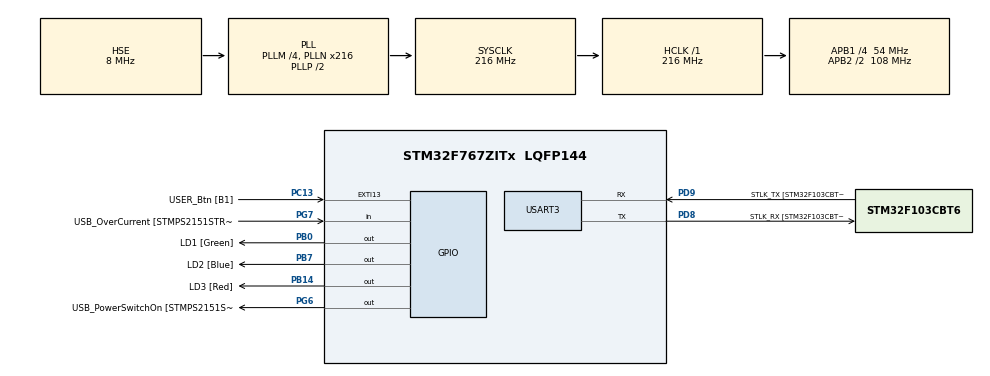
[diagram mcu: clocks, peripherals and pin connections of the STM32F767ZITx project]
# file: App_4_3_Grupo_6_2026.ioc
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CORTEX_M7.default_mode_Activation=1
Mcu.Family=STM32F7
Mcu.Name=STM32F767ZITx
Mcu.Package=LQFP144
NVIC.PriorityGroup=NVIC_PRIORITYGROUP_4
PA1.GPIO_Label=RMII_REF_CLK [LAN8742A-CZ-TR_REFCLK0]
PA1.Signal=ETH_REF_CLK
PA10.GPIO_Label=USB_ID
PA10.Signal=USB_OTG_FS_ID
PA11.GPIO_Label=USB_DM
PA11.Signal=USB_OTG_FS_DM
PA12.GPIO_Label=USB_DP
PA12.Signal=USB_OTG_FS_DP
PA13.GPIO_Label=TMS
PA13.Mode=Serial_Wire
PA13.Signal=SYS_JTMS-SWDIO
PA14.GPIO_Label=TCK
PA14.Mode=Serial_Wire
PA14.Signal=SYS_JTCK-SWCLK
PA2.GPIO_Label=RMII_MDIO [LAN8742A-CZ-TR_MDIO]
PA2.Signal=ETH_MDIO
PA7.GPIO_Label=RMII_CRS_DV [LAN8742A-CZ-TR_CRS_DV]
PA7.Signal=ETH_CRS_DV
PA8.GPIO_Label=USB_SOF [TP1]
PA8.Signal=USB_OTG_FS_SOF
PA9.GPIO_Label=USB_VBUS
PA9.Signal=USB_OTG_FS_VBUS
PB0.GPIO_Label=LD1 [Green]
PB0.Signal=GPIO_Output
PB13.GPIO_Label=RMII_TXD1 [LAN8742A-CZ-TR_TXD1]
PB13.Signal=ETH_TXD1
PB14.GPIO_Label=LD3 [Red]
PB14.Signal=GPIO_Output
PB3.GPIO_Label=SWO
PB3.Signal=SYS_JTDO-SWO
PB7.GPIO_Label=LD2 [Blue]
PB7.Signal=GPIO_Output
PC1.GPIO_Label=RMII_MDC [LAN8742A-CZ-TR_MDC]
PC1.Signal=ETH_MDC
PC13.GPIO_Label=USER_Btn [B1]
PC13.Signal=GPXTI13
PC14/OSC32_IN.Mode=LSE-External-Oscillator
PC14/OSC32_IN.Signal=RCC_OSC32_IN
PC15/OSC32_OUT.Mode=LSE-External-Oscillator
PC15/OSC32_OUT.Signal=RCC_OSC32_OUT
PC4.GPIO_Label=RMII_RXD0 [LAN8742A-CZ-TR_RXD0]
PC4.Signal=ETH_RXD0
PC5.GPIO_Label=RMII_RXD1 [LAN8742A-CZ-TR_RXD1]
PC5.Signal=ETH_RXD1
PD8.GPIO_Label=STLK_RX [STM32F103CBT6_PA3]
PD8.Mode=Asynchronous
PD8.Signal=USART3_TX
PD9.GPIO_Label=STLK_TX [STM32F103CBT6_PA2]
PD9.Mode=Asynchronous
PD9.Signal=USART3_RX
PG11.GPIO_Label=RMII_TX_EN [LAN8742A-CZ-TR_TXEN]
PG11.Signal=ETH_TX_EN
PG13.GPIO_Label=RMII_TXD0 [LAN8742A-CZ-TR_TXD0]
PG13.Signal=ETH_TXD0
PG6.GPIO_Label=USB_PowerSwitchOn [STMPS2151STR_EN]
PG6.Signal=GPIO_Output
PG7.GPIO_Label=USB_OverCurrent [STMPS2151STR_FAULT]
PG7.Signal=GPIO_Input
PH0/OSC_IN.GPIO_Label=MCO [STM32F103CBT6_PA8]
PH0/OSC_IN.Mode=HSE-External-Clock-Source
PH0/OSC_IN.Signal=RCC_OSC_IN
PH1/OSC_OUT.Mode=HSE-External-Clock-Source
PH1/OSC_OUT.Signal=RCC_OSC_OUT
ProjectManager.HeapSize=0x200
ProjectManager.StackSize=0x400
ProjectManager.TargetToolchain=STM32CubeIDE
RCC.48MHZClocksFreq_Value=24000000
RCC.AHBFreq_Value=216000000
RCC.APB1CLKDivider=RCC_HCLK_DIV4
RCC.APB1Freq_Value=54000000
RCC.APB1TimFreq_Value=108000000
RCC.APB2CLKDivider=RCC_HCLK_DIV2
RCC.APB2Freq_Value=108000000
RCC.APB2TimFreq_Value=216000000
RCC.CortexFreq_Value=216000000
RCC.HCLKFreq_Value=216000000
RCC.HSE_VALUE=8000000
RCC.HSI_VALUE=16000000
RCC.PLLM=4
RCC.PLLMUL=RCC_PLL_MUL9
RCC.PLLN=216
RCC.PLLQ=4
RCC.PLLSourceVirtual=RCC_PLLSOURCE_HSE
RCC.PRESCALERUSB=RCC_USBCLKSOURCE_PLL_DIV1_5
RCC.SYSCLKFreq_VALUE=216000000
RCC.SYSCLKSource=RCC_SYSCLKSOURCE_PLLCLK
RCC.SYSCLKSourceVirtual=RCC_SYSCLKSOURCE_PLLCLK
RCC.USBFreq_Value=108000000
RCC.VCOOutputFreq_Value=432000000
USART3.VirtualMode-Asynchronous=VM_ASYNC
board=NUCLEO-F767ZI

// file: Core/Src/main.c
/* USER CODE BEGIN Header */
/**
  ******************************************************************************
  * @file           : main.c
  * @brief          : Main program body
  ******************************************************************************
  * @attention
  *
  * Copyright (c) 2026 STMicroelectronics.
  * All rights reserved.
  *
  * This software is licensed under terms that can be found in the LICENSE file
  * in the root directory of this software component.
  * If no LICENSE file comes with this software, it is provided AS-IS.
  *
  ******************************************************************************
  */
/* USER CODE END Header */
#include "main.h"

/* USER CODE BEGIN Includes */
#include "API_GPIO.h"
#include "API_delay.h"
/* USER CODE END Includes */

UART_HandleTypeDef huart3;

void SystemClock_Config(void);
static void MPU_Config(void);
static void MX_GPIO_Init(void);
static void MX_USART3_UART_Init(void);

/* USER CODE BEGIN 0 */
// Vector de LEDs usando los nombres reales de main.h
led_t vector_leds[3] = {LD1_Pin, LD2_Pin, LD3_Pin};

// Variables para el antirebote y lectura del botón
buttonStatus_t estadoBotonAnterior = 0;
uint8_t secuencia_actual = 0;
/* USER CODE END 0 */

int main(void)
{

  /* MPU Configuration--------------------------------------------------------*/
  MPU_Config();

  /* MCU Configuration--------------------------------------------------------*/

  /* Reset of all peripherals, Initializes the Flash interface and the Systick. */
  HAL_Init();

  /* Configure the system clock */
  SystemClock_Config();

  /* Initialize all configured peripherals */
  MX_GPIO_Init();
  MX_USART3_UART_Init();
  /* USER CODE BEGIN 2 */
  // Declaramos los cronómetros (delays no bloqueantes)
  delay_t delay_seq1, delay_seq2, delay_seq3_L1, delay_seq3_L2, delay_seq3_L3, delay_seq4;

  delayInit(&delay_seq1, 150);
  delayInit(&delay_seq2, 300);
  delayInit(&delay_seq3_L1, 100);
  delayInit(&delay_seq3_L2, 300);
  delayInit(&delay_seq3_L3, 600);
  delayInit(&delay_seq4, 150);

  uint8_t indice_led = 0; // Para recorrer el vector en la Secuencia 1
  /* USER CODE END 2 */

  /* Infinite loop */
  /* USER CODE BEGIN WHILE */
  while (1)
    {
      // Leemos el pulsador
      buttonStatus_t estadoBotonActual = ReadButton_GPIO();

      if (estadoBotonActual && !estadoBotonAnterior) {
          secuencia_actual++;
          if (secuencia_actual > 3) {
              secuencia_actual = 0;
          }

          WriteLedOff_GPIO(LD1_Pin);
          WriteLedOff_GPIO(LD2_Pin);
          WriteLedOff_GPIO(LD3_Pin);
      }
      estadoBotonAnterior = estadoBotonActual;

      // --- MÁQUINA DE ESTADOS ---
      switch (secuencia_actual) {

          case 0: // SECUENCIA 1
              if (delayRead(&delay_seq1)) {
                  WriteLedOff_GPIO(vector_leds[indice_led]);

                  indice_led++;
                  if (indice_led > 2) indice_led = 0;

                  WriteLedOn_GPIO(vector_leds[indice_led]);
              }
              break;

          case 1: // SECUENCIA 2
              if (delayRead(&delay_seq2)) {
                  ToggleLed_GPIO(LD1_Pin);
                  ToggleLed_GPIO(LD2_Pin);
                  ToggleLed_GPIO(LD3_Pin);
              }
              break;

          case 2: // SECUENCIA 3
              if (delayRead(&delay_seq3_L1)) ToggleLed_GPIO(LD1_Pin);
              if (delayRead(&delay_seq3_L2)) ToggleLed_GPIO(LD2_Pin);
              if (delayRead(&delay_seq3_L3)) ToggleLed_GPIO(LD3_Pin);
              break;

          case 3: // SECUENCIA 4
              if (delayRead(&delay_seq4)) {
                  ToggleLed_GPIO(LD1_Pin);
                  ToggleLed_GPIO(LD3_Pin);

                  if (HAL_GPIO_ReadPin(GPIOB, LD1_Pin) == GPIO_PIN_SET) {
                      WriteLedOff_GPIO(LD2_Pin);
                  } else {
                      WriteLedOn_GPIO(LD2_Pin);
                  }
              }
              break;
      }
    /* USER CODE END WHILE */

  }
}

void SystemClock_Config(void)
{
  RCC_OscInitTypeDef RCC_OscInitStruct = {0};
  RCC_ClkInitTypeDef RCC_ClkInitStruct = {0};

  /** Configure LSE Drive Capability
  */
  HAL_PWR_EnableBkUpAccess();

  /** Configure the main internal regulator output voltage
  */
  __HAL_RCC_PWR_CLK_ENABLE();
  __HAL_PWR_VOLTAGESCALING_CONFIG(PWR_REGULATOR_VOLTAGE_SCALE1);

  /** Initializes the RCC Oscillators according to the specified parameters
  * in the RCC_OscInitTypeDef structure.
  */
  RCC_OscInitStruct.OscillatorType = RCC_OSCILLATORTYPE_HSE;
  RCC_OscInitStruct.HSEState = RCC_HSE_BYPASS;
  RCC_OscInitStruct.PLL.PLLState = RCC_PLL_ON;
  RCC_OscInitStruct.PLL.PLLSource = RCC_PLLSOURCE_HSE;
  RCC_OscInitStruct.PLL.PLLM = 4;
  RCC_OscInitStruct.PLL.PLLN = 216;
  RCC_OscInitStruct.PLL.PLLP = RCC_PLLP_DIV2;
  RCC_OscInitStruct.PLL.PLLQ = 4;
  RCC_OscInitStruct.PLL.PLLR = 2;
  if (HAL_RCC_OscConfig(&RCC_OscInitStruct) != HAL_OK)
  {
    Error_Handler();
  }

  /** Activate the Over-Drive mode
  */
  if (HAL_PWREx_EnableOverDrive() != HAL_OK)
  {
    Error_Handler();
  }

  /** Initializes the CPU, AHB and APB buses clocks
  */
  RCC_ClkInitStruct.ClockType = RCC_CLOCKTYPE_HCLK|RCC_CLOCKTYPE_SYSCLK
                              |RCC_CLOCKTYPE_PCLK1|RCC_CLOCKTYPE_PCLK2;
  RCC_ClkInitStruct.SYSCLKSource = RCC_SYSCLKSOURCE_PLLCLK;
  RCC_ClkInitStruct.AHBCLKDivider = RCC_SYSCLK_DIV1;
  RCC_ClkInitStruct.APB1CLKDivider = RCC_HCLK_DIV4;
  RCC_ClkInitStruct.APB2CLKDivider = RCC_HCLK_DIV2;

  if (HAL_RCC_ClockConfig(&RCC_ClkInitStruct, FLASH_LATENCY_7) != HAL_OK)
  {
    Error_Handler();
  }
}

static void MX_USART3_UART_Init(void)
{

  huart3.Instance = USART3;
  huart3.Init.BaudRate = 115200;
  huart3.Init.WordLength = UART_WORDLENGTH_8B;
  huart3.Init.StopBits = UART_STOPBITS_1;
  huart3.Init.Parity = UART_PARITY_NONE;
  huart3.Init.Mode = UART_MODE_TX_RX;
  huart3.Init.HwFlowCtl = UART_HWCONTROL_NONE;
  huart3.Init.OverSampling = UART_OVERSAMPLING_16;
  huart3.Init.OneBitSampling = UART_ONE_BIT_SAMPLE_DISABLE;
  huart3.AdvancedInit.AdvFeatureInit = UART_ADVFEATURE_NO_INIT;
  if (HAL_UART_Init(&huart3) != HAL_OK)
  {
    Error_Handler();
  }

}

static void MX_GPIO_Init(void)
{
  GPIO_InitTypeDef GPIO_InitStruct = {0};

  /* GPIO Ports Clock Enable */
  __HAL_RCC_GPIOC_CLK_ENABLE();
  __HAL_RCC_GPIOH_CLK_ENABLE();
  __HAL_RCC_GPIOA_CLK_ENABLE();
  __HAL_RCC_GPIOB_CLK_ENABLE();
  __HAL_RCC_GPIOD_CLK_ENABLE();
  __HAL_RCC_GPIOG_CLK_ENABLE();

  /*Configure GPIO pin Output Level */
  HAL_GPIO_WritePin(GPIOB, LD1_Pin|LD3_Pin|LD2_Pin, GPIO_PIN_RESET);

  /*Configure GPIO pin Output Level */
  HAL_GPIO_WritePin(USB_PowerSwitchOn_GPIO_Port, USB_PowerSwitchOn_Pin, GPIO_PIN_RESET);

  /*Configure GPIO pin : USER_Btn_Pin */
  GPIO_InitStruct.Pin = USER_Btn_Pin;
  GPIO_InitStruct.Mode = GPIO_MODE_IT_RISING;
  GPIO_InitStruct.Pull = GPIO_NOPULL;
  HAL_GPIO_Init(USER_Btn_GPIO_Port, &GPIO_InitStruct);

  /*Configure GPIO pins : RMII_MDC_Pin RMII_RXD0_Pin RMII_RXD1_Pin */
  GPIO_InitStruct.Pin = RMII_MDC_Pin|RMII_RXD0_Pin|RMII_RXD1_Pin;
  GPIO_InitStruct.Mode = GPIO_MODE_AF_PP;
  GPIO_InitStruct.Pull = GPIO_NOPULL;
  GPIO_InitStruct.Speed = GPIO_SPEED_FREQ_HIGH;
  GPIO_InitStruct.Alternate = GPIO_AF11_ETH;
  HAL_GPIO_Init(GPIOC, &GPIO_InitStruct);

  /*Configure GPIO pins : RMII_REF_CLK_Pin RMII_MDIO_Pin RMII_CRS_DV_Pin */
  GPIO_InitStruct.Pin = RMII_REF_CLK_Pin|RMII_MDIO_Pin|RMII_CRS_DV_Pin;
  GPIO_InitStruct.Mode = GPIO_MODE_AF_PP;
  GPIO_InitStruct.Pull = GPIO_NOPULL;
  GPIO_InitStruct.Speed = GPIO_SPEED_FREQ_HIGH;
  GPIO_InitStruct.Alternate = GPIO_AF11_ETH;
  HAL_GPIO_Init(GPIOA, &GPIO_InitStruct);

  /*Configure GPIO pins : LD1_Pin LD3_Pin LD2_Pin */
  GPIO_InitStruct.Pin = LD1_Pin|LD3_Pin|LD2_Pin;
  GPIO_InitStruct.Mode = GPIO_MODE_OUTPUT_PP;
  GPIO_InitStruct.Pull = GPIO_NOPULL;
  GPIO_InitStruct.Speed = GPIO_SPEED_FREQ_LOW;
  HAL_GPIO_Init(GPIOB, &GPIO_InitStruct);

  /*Configure GPIO pin : RMII_TXD1_Pin */
  GPIO_InitStruct.Pin = RMII_TXD1_Pin;
  GPIO_InitStruct.Mode = GPIO_MODE_AF_PP;
  GPIO_InitStruct.Pull = GPIO_NOPULL;
  GPIO_InitStruct.Speed = GPIO_SPEED_FREQ_HIGH;
  GPIO_InitStruct.Alternate = GPIO_AF11_ETH;
  HAL_GPIO_Init(RMII_TXD1_GPIO_Port, &GPIO_InitStruct);

  /*Configure GPIO pin : USB_PowerSwitchOn_Pin */
  GPIO_InitStruct.Pin = USB_PowerSwitchOn_Pin;
  GPIO_InitStruct.Mode = GPIO_MODE_OUTPUT_PP;
  GPIO_InitStruct.Pull = GPIO_NOPULL;
  GPIO_InitStruct.Speed = GPIO_SPEED_FREQ_LOW;
  HAL_GPIO_Init(USB_PowerSwitchOn_GPIO_Port, &GPIO_InitStruct);

  /*Configure GPIO pin : USB_OverCurrent_Pin */
  GPIO_InitStruct.Pin = USB_OverCurrent_Pin;
  GPIO_InitStruct.Mode = GPIO_MODE_INPUT;
  GPIO_InitStruct.Pull = GPIO_NOPULL;
  HAL_GPIO_Init(USB_OverCurrent_GPIO_Port, &GPIO_InitStruct);

  /*Configure GPIO pins : USB_SOF_Pin USB_ID_Pin USB_DM_Pin USB_DP_Pin */
  GPIO_InitStruct.Pin = USB_SOF_Pin|USB_ID_Pin|USB_DM_Pin|USB_DP_Pin;
  GPIO_InitStruct.Mode = GPIO_MODE_AF_PP;
  GPIO_InitStruct.Pull = GPIO_NOPULL;
  GPIO_InitStruct.Speed = GPIO_SPEED_FREQ_VERY_HIGH;
  GPIO_InitStruct.Alternate = GPIO_AF10_OTG_FS;
  HAL_GPIO_Init(GPIOA, &GPIO_InitStruct);

  /*Configure GPIO pin : USB_VBUS_Pin */
  GPIO_InitStruct.Pin = USB_VBUS_Pin;
  GPIO_InitStruct.Mode = GPIO_MODE_INPUT;
  GPIO_InitStruct.Pull = GPIO_NOPULL;
  HAL_GPIO_Init(USB_VBUS_GPIO_Port, &GPIO_InitStruct);

  /*Configure GPIO pins : RMII_TX_EN_Pin RMII_TXD0_Pin */
  GPIO_InitStruct.Pin = RMII_TX_EN_Pin|RMII_TXD0_Pin;
  GPIO_InitStruct.Mode = GPIO_MODE_AF_PP;
  GPIO_InitStruct.Pull = GPIO_NOPULL;
  GPIO_InitStruct.Speed = GPIO_SPEED_FREQ_HIGH;
  GPIO_InitStruct.Alternate = GPIO_AF11_ETH;
  HAL_GPIO_Init(GPIOG, &GPIO_InitStruct);

}

 /* MPU Configuration */

void MPU_Config(void)
{
  MPU_Region_InitTypeDef MPU_InitStruct = {0};

  /* Disables the MPU */
  HAL_MPU_Disable();

  /** Initializes and configures the Region and the memory to be protected
  */
  MPU_InitStruct.Enable = MPU_REGION_ENABLE;
  MPU_InitStruct.Number = MPU_REGION_NUMBER0;
  MPU_InitStruct.BaseAddress = 0x0;
  MPU_InitStruct.Size = MPU_REGION_SIZE_4GB;
  MPU_InitStruct.SubRegionDisable = 0x87;
  MPU_InitStruct.TypeExtField = MPU_TEX_LEVEL0;
  MPU_InitStruct.AccessPermission = MPU_REGION_NO_ACCESS;
  MPU_InitStruct.DisableExec = MPU_INSTRUCTION_ACCESS_DISABLE;
  MPU_InitStruct.IsShareable = MPU_ACCESS_SHAREABLE;
  MPU_InitStruct.IsCacheable = MPU_ACCESS_NOT_CACHEABLE;
  MPU_InitStruct.IsBufferable = MPU_ACCESS_NOT_BUFFERABLE;

  HAL_MPU_ConfigRegion(&MPU_InitStruct);
  /* Enables the MPU */
  HAL_MPU_Enable(MPU_PRIVILEGED_DEFAULT);

}

void Error_Handler(void)
{
  __disable_irq();
  while (1)
  {
  }
}
